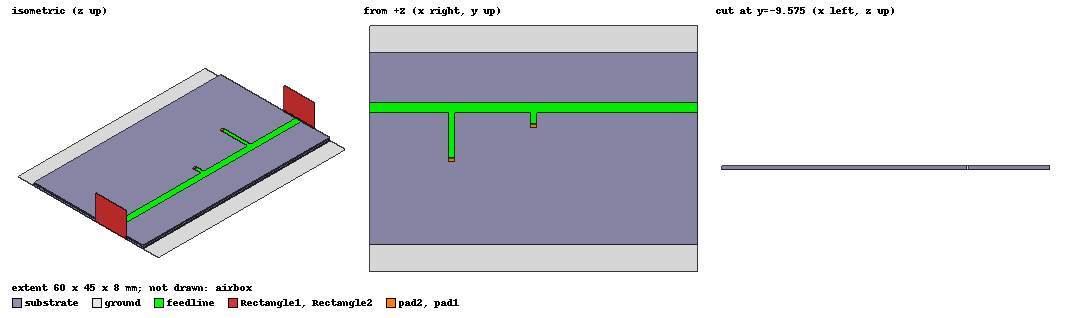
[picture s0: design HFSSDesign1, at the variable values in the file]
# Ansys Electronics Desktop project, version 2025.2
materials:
  vacuum: permittivity=1
  RO4003C_338: permittivity=3.38 permeability=1 dielectric_loss_tangent=0.0027
  pec: conductivity=1e+30

design HFSSDesign1 (HFSS, HFSS Modal Network, model units mm)
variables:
  sub_h = 0.813mm
  w50 = 1.85mm
  wstub = 1mm
  l_stub1 = 8.2mm
  l_stub2 = 2mm
  pos1 = 10mm
  pos2 = 25mm
  gap_size = 0.2mm
  pad_l = 0.5mm
  Cvar1 = 1.5pF
  Cvar2 = 0.75pF
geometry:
  ground = rectangle(corner=(-5mm, -30mm, 0mm), x_size=60mm, y_size=45mm)
  substrate [RO4003C_338] = box(corner=(-5mm, -25mm, 0mm), size=(60mm, 35mm, sub_h))
  feedline = rectangle(corner=(-5mm, -w50/2, sub_h), x_size=60mm, y_size=w50)
  stub1 = rectangle(corner=(pos1-wstub/2, -w50/2, sub_h), x_size=wstub, y_size=-l_stub1)
  gap1 = rectangle(corner=(pos1-wstub/2, -w50/2-l_stub1, sub_h), x_size=wstub, y_size=-gap_size)
  pad1 = rectangle(corner=(pos1-wstub/2, -w50/2-l_stub1-gap_size, sub_h), x_size=wstub, y_size=-pad_l)
  via1 [pec] = cylinder(axis=Z, base_centre=(pos1, -w50/2-l_stub1-gap_size-pad_l/2, 0mm), radius=0.15mm, height=sub_h)
  stub2 = rectangle(corner=(pos2-wstub/2, -w50/2, sub_h), x_size=wstub, y_size=-l_stub2)
  gap2 = rectangle(corner=(pos2-wstub/2, -w50/2-l_stub2, sub_h), x_size=wstub, y_size=-gap_size)
  pad2 = rectangle(corner=(pos2-wstub/2, -w50/2-l_stub2-gap_size, sub_h), x_size=wstub, y_size=-pad_l)
  via2 [pec] = cylinder(axis=Z, base_centre=(pos2, -w50/2-l_stub2-gap_size-pad_l/2, 0mm), radius=0.15mm, height=sub_h)
  feedline.unite(stub1, stub2)
  airbox [vacuum] = box(corner=(-5mm, (-10 -37) mm, -37mm), size=(60mm, (20 + 74) mm, sub_h + 74mm))
  Rectangle1 = rectangle(corner=(55mm, -5mm, 0mm), y_size=10mm, z_size=8mm)
  Rectangle2 = rectangle(corner=(-5mm, -5mm, 0mm), y_size=10mm, z_size=8mm)
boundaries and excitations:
  PEC_metal: Perfect E Objects=[ground, feedline, pad1, pad2]
  Rad1: Radiation Faces=airbox.face(-y, +z, +y, -z)
  LumpRLC3: Lumped RLC Objects=gap1 CurrentLine{(9950mm, -9150mm, 813mm) -> (9950mm, -9300mm, 813mm)} RLC_Type=Serial Resistance=0.6ohm Inductance=0.5nH Capacitance=Cvar1
  LumpRLC4: Lumped RLC Objects=gap2 CurrentLine{(24950mm, -2950mm, 813mm) -> (24950mm, -3100mm, 813mm)} RLC_Type=Serial Resistance=0.6ohm Inductance=0.5nH Capacitance=Cvar2
  port1: Wave Port Objects=Rectangle1 WavePortType=Modal NumModes=1 Modes{Mode1{IntLine{(55, 0.54054054, 0) -> (55000mm, 540.54054mm, 7872.0787mm)} CharImp=Zpi}}
  port2: Wave Port Objects=Rectangle2 WavePortType=Modal NumModes=1 Modes{Mode1{IntLine{(-5, -0.54054054, 0) -> (-5000mm, -540.54054mm, 7872.0787mm)} CharImp=Zpi}}
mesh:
  Length1: LengthBased Objects=[gap1, gap2, pad2, pad1] MaxLength=1.5mm
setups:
  Setup1: HfssDriven Frequency=5.5GHz MaxDeltaS=0.02 MaximumPasses=15 MinimumPasses=1 MinimumConvergedPasses=1 PercentRefinement=30 BasisOrder=1 PortAccuracy=2 DrivenSolverType="Direct Solver"
    sweep Sweep: 1GHz to 8GHz, 150 points; Type=Interpolating InterpTolerance=0.5 InterpMaxSolns=250 InterpUsePortImped=false PassivityErrorTolerance=0.0001
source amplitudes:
  port1:1: 1W 0deg
  port2:1: 0W 0deg
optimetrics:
  ParametricSetup1: Parametric Sim._Setups=[Setup1]
    sweep Cvar1: LIN 1.2pF 1.8pF 0.1pF
    sweep Cvar2: LIN 0.5pF 0.9pF 0.1pF
  ParametricSetup2: Parametric Sim._Setups=[Setup1]
    sweep Cvar2: LIN 0.3pF 1pF 0.1pF
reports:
  S Parameter Plot1: dB(S(port2,port1)) vs Freq on Setup1 : Sweep [Cvar1=0.4pF,0.6pF,0.8pF,1pF,1.2pF,1.4pF,1.6pF,1.8pF,2pF Cvar2=all]
  S Parameter Plot2: dB(S(port2,port1)) vs Freq on Setup1 : Sweep [Cvar1=all Cvar2=0.3pF,0.4pF,0.5pF,0.6pF,0.7pF,0.8pF,0.9pF,1pF]
  S Parameter Plot4: dB(S(port1,port1)), dB(S(port2,port1)) vs Freq on Setup1 : Sweep [Cvar1=1.5pF Cvar2=0.7pF]
  S Parameter Chart1: S(port1,port1), S(port2,port1) on Setup1 : Sweep [Freq=all Cvar1=1.5pF Cvar2=0.7pF]
